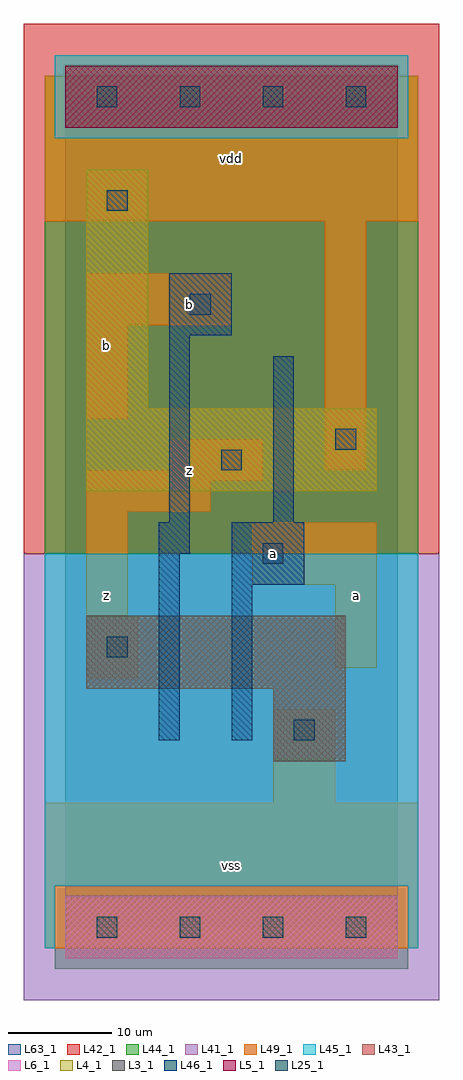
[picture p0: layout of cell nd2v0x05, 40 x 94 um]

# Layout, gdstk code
import gdstk
lib = gdstk.Library(unit=1e-6, precision=1e-09)
def R(c, l, rs):  # rectangles x0, y0, x1, y1
    for r in rs: c.add(gdstk.rectangle(r[:2], r[2:], *l))
def A(c, l, x, y, w, h, nx, ny, dx, dy):  # array of equal rectangles
    R(c, l, [(x+i*dx, y+j*dy, x+i*dx+w, y+j*dy+h) for i in range(nx) for j in range(ny)])
L3_1 = (3, 1)
L4_1 = (4, 1)
L5_1 = (5, 1)
L6_1 = (6, 1)
L25_1 = (25, 1)
L41_1 = (41, 1)
L42_1 = (42, 1)
L43_1 = (43, 1)
L44_1 = (44, 1)
L45_1 = (45, 1)
L46_1 = (46, 1)
L49_1 = (49, 1)
L63_1 = (63, 1)

nd2v0x05 = lib.new_cell('nd2v0x05')
R(nd2v0x05, L3_1, [(20,16,27,23), (2,23,27,30)])
R(nd2v0x05, L4_1, [(2,42,30,50), (2,50,8,73)])
R(nd2v0x05, L5_1, [(0,77,32,83)])
R(nd2v0x05, L6_1, [(0,-3,32,3), (0,-3,32,3)])
A(nd2v0x05, L25_1, 3, -1, 2, 2, 4, 2, 8, 80)
R(nd2v0x05, L25_1, [(22,18,24,20), (4,26,6,28), (19,35,21,37), (15,44,17,46), (26,46,28,48), (12,59,14,61), (4,69,6,71)])
R(nd2v0x05, L41_1, [(-4,-7,36,36)])
R(nd2v0x05, L42_1, [(-4,36,36,87)])
R(nd2v0x05, L43_1, [(0,-3,32,3), (20,16,27,23), (2,23,27,30), (2,42,30,50), (2,50,8,73), (0,77,32,83)])
R(nd2v0x05, L44_1, [(-1,-4,33,4), (-2,36,34,76), (-2,76,-1,82), (33,76,34,82)])
R(nd2v0x05, L45_1, [(-2,-2,-1,4), (33,-2,34,4), (-2,4,34,36), (-1,76,33,84)])
R(nd2v0x05, L46_1, [(9,18,11,36), (16,18,18,33), (16,33,23,39), (9,36,12,39), (10,39,12,57), (20,39,22,55), (10,57,16,63)])
R(nd2v0x05, L49_1, [(-2,-2,34,12), (20,12,26,21), (2,24,7,30), (26,25,30,33), (2,30,6,40), (18,33,30,39), (2,40,14,43), (2,43,19,44), (10,44,19,47), (25,44,29,68), (2,49,6,58), (2,58,16,63), (-2,68,34,82)])
R(nd2v0x05, L63_1, [(0,0,32,80)])
nd2v0x05.add(gdstk.Label('z', (4,32), layer=49, texttype=1))
nd2v0x05.add(gdstk.Label('b', (4,56), layer=49, texttype=1))
nd2v0x05.add(gdstk.Label('z', (12,44), layer=49, texttype=1))
nd2v0x05.add(gdstk.Label('b', (12,60), layer=49, texttype=1))
nd2v0x05.add(gdstk.Label('vss', (16,6), layer=49, texttype=1))
nd2v0x05.add(gdstk.Label('a', (20,36), layer=49, texttype=1))
nd2v0x05.add(gdstk.Label('vdd', (16,74), layer=49, texttype=1))
nd2v0x05.add(gdstk.Label('a', (28,32), layer=49, texttype=1))

lib.write_gds('nd2v0x05.gds')
